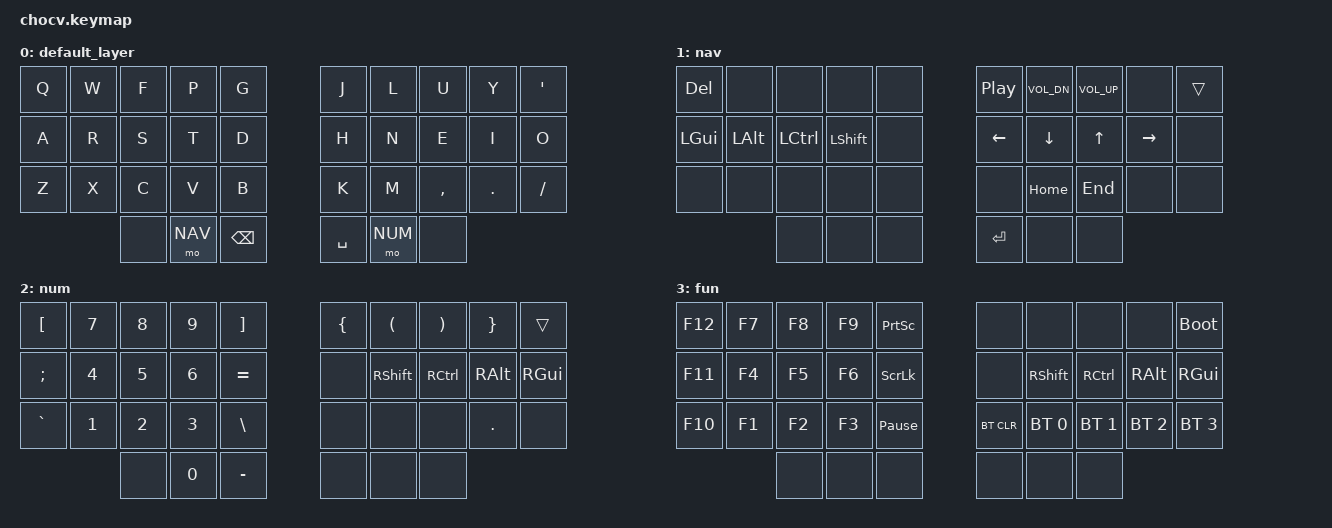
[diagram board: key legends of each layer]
/*
 * Copyright (c) 2020 The ZMK Contributors
 *
 * SPDX-License-Identifier: MIT
 */

#include <behaviors.dtsi>
#include <dt-bindings/zmk/keys.h>
#include <dt-bindings/zmk/bt.h>

#define             BASE    0
#define             NAV     1
#define             NUM     2
#define             FUN     3

#define VOL_U       &kp C_VOL_UP
#define VOL_D       &kp C_VOL_DN
#define PB          &kp PAUSE_BREAK

#define BTCLR       &bt BT_CLR
#define BT0         &bt BT_SEL 0
#define BT1         &bt BT_SEL 1
#define BT2         &bt BT_SEL 2
#define BT3         &bt BT_SEL 3

#define SK(KEY)     &nk KEY KEY

&kscan0 {
    debounce-press-ms = <15>;
    debounce-release-ms = <15>;
};

&caps_word {
    continue-list = <UNDERSCORE MINUS BACKSPACE>;
};

/ {
        combos {
            compatible = "zmk,combos";

            combo_esc {
                timeout-ms = <30>;
                key-positions = <11 12>;
                bindings = <&kp ESC>;
                layers = <NAV NUM>;
            };

            combo_esc_base {
                timeout-ms = <30>;
                key-positions = <12 22>;
                bindings = <&kp ESC>;
                layers = <BASE>;
            };

            combo_tab {
                timeout-ms = <30>;
                key-positions = <12 13>;
                bindings = <&kp TAB>;
                layers = <NUM>;
            };

            combo_tab_base {
                timeout-ms = <30>;
                key-positions = <13 23>;
                bindings = <&kp TAB>;
                layers = <BASE>;
            };

            combo_ret_base {
                timeout-ms = <30>;
                key-positions = <16 26>;
                bindings = <&kp RET>;
                layers = <BASE>;
            };

            combo_top_lparen {
                timeout-ms = <30>;
                key-positions = <1 11>;
                bindings = <&kp LPAR>;
                layers = <BASE>;
            };

            combo_top_lbrc {
                timeout-ms = <30>;
                key-positions = <2 12>;
                bindings = <&kp LBRC>;
                layers = <BASE>;
            };

            combo_top_lbkt {
                timeout-ms = <30>;
                key-positions = <3 13>;
                bindings = <&kp LBKT>;
                layers = <BASE>;
            };

            combo_top_rbkt {
                timeout-ms = <30>;
                key-positions = <6 16>;
                bindings = <&kp RBKT>;
                layers = <BASE>;
            };

            combo_top_rbrc {
                timeout-ms = <30>;
                key-positions = <7 17>;
                bindings = <&kp RBRC>;
                layers = <BASE>;
            };

            combo_top_rparen {
                timeout-ms = <30>;
                key-positions = <8 18>;
                bindings = <&kp RPAR>;
                layers = <BASE>;
            };


            combo_caps_word {
                timeout-ms = <50>;
                key-positions = <4 14>;
                bindings = <&caps_word>;
                layers = <NUM>;
            };

            // layer combos
            combo_fun {
                timeout-ms = <50>;
                key-positions = <33 34>;
                bindings = <&mo FUN>;
                layers = <BASE>;
            };

            // layer combos
            combo_home {
                timeout-ms = <50>;
                key-positions = <25 26>;
                bindings = <&kp HOME>;
                layers = <NAV NUM>;
            };

            // layer combos
            combo_end {
                timeout-ms = <50>;
                key-positions = <26 27>;
                bindings = <&kp END>;
                layers = <NAV NUM>;
            };
        };

        keymap {
            compatible = "zmk,keymap";

            default_layer {
            bindings = <
                &kp Q       &kp W       &kp F       &kp P       &kp G       /**/ /**/       &kp J       &kp L       &kp U       &kp Y       &kp SQT
                &kp A       &kp R       &kp S       &kp T       &kp D 	    /**/ /**/	    &kp H       &kp N       &kp E       &kp I       &kp O
                &kp Z       &kp X       &kp C       &kp V       &kp B       /**/ /**/       &kp K       &kp M       &kp COMMA   &kp DOT     &kp SLASH
                                        &none       &mo NAV     &kp BSPC                    &kp SPC     &mo NUM    &none
            >;
            };

            nav {
            bindings = <
                &kp DEL     &none       &none       &none       &none       /**/ /**/       &kp C_PP    VOL_D       VOL_U       &none       &trans
                &kp LGUI    &kp LALT    &kp LCTRL   &kp LSHFT   &none       /**/ /**/       &kp LEFT    &kp DOWN    &kp UP      &kp RIGHT   &none
                &none       &none       &none       &none       &none       /**/ /**/       &none       &kp HOME    &kp END     &none       &none
                                        &none       &none       &none                       &kp RET     &none       &none
            >;
            };

            num {
            bindings = <
                &kp LBKT    &kp N7      &kp N8      &kp N9      &kp RBKT    /**/ /**/  	    &kp LBRC    &kp LPAR    &kp RPAR    &kp RBRC    &trans
                &kp SEMI    &kp N4      &kp N5      &kp N6      &kp EQUAL   /**/ /**/       &none       &kp RSHFT   &kp RCTRL   &kp RALT    &kp RGUI
                &kp GRAVE   &kp N1      &kp N2      &kp N3      &kp BSLH    /**/ /**/       &none       &none       &none       &kp DOT     &none
                                        &none       &kp N0      &kp MINUS                   &none       &none       &none
            >;
            };	

            fun {
            bindings = <
                &kp F12     &kp F7      &kp F8      &kp F9      &kp PSCRN   /**/ /**/	    &none       &none       &none       &none       &bootloader 
                &kp F11     &kp F4      &kp F5      &kp F6      &kp SLCK    /**/ /**/       &none       &kp RSHFT   &kp RCTRL   &kp RALT    &kp RGUI
                &kp F10     &kp F1      &kp F2      &kp F3      PB          /**/ /**/       BTCLR       BT0         BT1         BT2         BT3
                                        &none       &none       &none                       &none       &none       &none
            >;
            };	

    };
};
